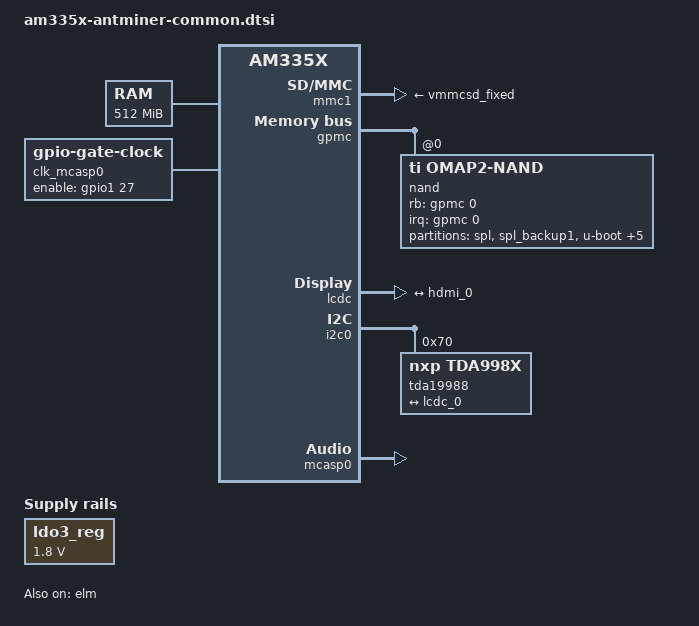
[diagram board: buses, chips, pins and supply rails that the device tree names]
/*
 * Copyright (C) 2012 Texas Instruments Incorporated - http://www.ti.com/
 *
 * This program is free software; you can redistribute it and/or modify
 * it under the terms of the GNU General Public License version 2 as
 * published by the Free Software Foundation.
 */

#include <dt-bindings/display/tda998x.h>
#include <dt-bindings/interrupt-controller/irq.h>

&ldo3_reg {
	regulator-min-microvolt = <1800000>;
	regulator-max-microvolt = <1800000>;
	regulator-always-on;
};

&mmc1 {
	vmmc-supply = <&vmmcsd_fixed>;
};


&am33xx_pinmux {
	nxp_hdmi_bonelt_pins: nxp_hdmi_bonelt_pins {
		pinctrl-single,pins = <
			AM33XX_IOPAD(0x9b0, PIN_OUTPUT_PULLDOWN | MUX_MODE3)	/* xdma_event_intr0 */
			AM33XX_IOPAD(0x8a0, PIN_OUTPUT | MUX_MODE0)		/* lcd_data0.lcd_data0 */
			AM33XX_IOPAD(0x8a4, PIN_OUTPUT | MUX_MODE0)		/* lcd_data1.lcd_data1 */
			AM33XX_IOPAD(0x8a8, PIN_OUTPUT | MUX_MODE0)		/* lcd_data2.lcd_data2 */
			AM33XX_IOPAD(0x8ac, PIN_OUTPUT | MUX_MODE0)		/* lcd_data3.lcd_data3 */
			AM33XX_IOPAD(0x8b0, PIN_OUTPUT | MUX_MODE0)		/* lcd_data4.lcd_data4 */
			AM33XX_IOPAD(0x8b4, PIN_OUTPUT | MUX_MODE0)		/* lcd_data5.lcd_data5 */
			AM33XX_IOPAD(0x8b8, PIN_OUTPUT | MUX_MODE0)		/* lcd_data6.lcd_data6 */
			AM33XX_IOPAD(0x8bc, PIN_OUTPUT | MUX_MODE0)		/* lcd_data7.lcd_data7 */
			AM33XX_IOPAD(0x8c0, PIN_OUTPUT | MUX_MODE0)		/* lcd_data8.lcd_data8 */
			AM33XX_IOPAD(0x8c4, PIN_OUTPUT | MUX_MODE0)		/* lcd_data9.lcd_data9 */
			AM33XX_IOPAD(0x8c8, PIN_OUTPUT | MUX_MODE0)		/* lcd_data10.lcd_data10 */
			AM33XX_IOPAD(0x8cc, PIN_OUTPUT | MUX_MODE0)		/* lcd_data11.lcd_data11 */
			AM33XX_IOPAD(0x8d0, PIN_OUTPUT | MUX_MODE0)		/* lcd_data12.lcd_data12 */
			AM33XX_IOPAD(0x8d4, PIN_OUTPUT | MUX_MODE0)		/* lcd_data13.lcd_data13 */
			AM33XX_IOPAD(0x8d8, PIN_OUTPUT | MUX_MODE0)		/* lcd_data14.lcd_data14 */
			AM33XX_IOPAD(0x8dc, PIN_OUTPUT | MUX_MODE0)		/* lcd_data15.lcd_data15 */
			AM33XX_IOPAD(0x8e0, PIN_OUTPUT_PULLDOWN | MUX_MODE0)	/* lcd_vsync.lcd_vsync */
			AM33XX_IOPAD(0x8e4, PIN_OUTPUT_PULLDOWN | MUX_MODE0)	/* lcd_hsync.lcd_hsync */
			AM33XX_IOPAD(0x8e8, PIN_OUTPUT_PULLDOWN | MUX_MODE0)	/* lcd_pclk.lcd_pclk */
			AM33XX_IOPAD(0x8ec, PIN_OUTPUT_PULLDOWN | MUX_MODE0)	/* lcd_ac_bias_en.lcd_ac_bias_en */
		>;
	};

	nxp_hdmi_bonelt_off_pins: nxp_hdmi_bonelt_off_pins {
		pinctrl-single,pins = <
			AM33XX_IOPAD(0x9b0, PIN_OUTPUT_PULLDOWN | MUX_MODE3)	/* xdma_event_intr0 */
		>;
	};

	mcasp0_pins: mcasp0_pins {
		pinctrl-single,pins = <
			AM33XX_IOPAD(0x9ac, PIN_INPUT_PULLUP | MUX_MODE0) /* mcasp0_ahcklx.mcasp0_ahclkx */
			AM33XX_IOPAD(0x99c, PIN_OUTPUT_PULLDOWN | MUX_MODE2) /* mcasp0_ahclkr.mcasp0_axr2*/
			AM33XX_IOPAD(0x994, PIN_OUTPUT_PULLUP | MUX_MODE0) /* mcasp0_fsx.mcasp0_fsx */
			AM33XX_IOPAD(0x990, PIN_OUTPUT_PULLDOWN | MUX_MODE0) /* mcasp0_aclkx.mcasp0_aclkx */
			AM33XX_IOPAD(0x86c, PIN_OUTPUT_PULLDOWN | MUX_MODE7) /* gpmc_a11.GPIO1_27 */
		>;
	};

	nandflash_pins_s0: nandflash_pins_s0 {
		pinctrl-single,pins = <
			AM33XX_IOPAD(0x800, PIN_INPUT_PULLUP | MUX_MODE0)	/* gpmc_ad0.gpmc_ad0 */
			AM33XX_IOPAD(0x804, PIN_INPUT_PULLUP | MUX_MODE0)	/* gpmc_ad1.gpmc_ad1 */
			AM33XX_IOPAD(0x808, PIN_INPUT_PULLUP | MUX_MODE0)	/* gpmc_ad2.gpmc_ad2 */
			AM33XX_IOPAD(0x80c, PIN_INPUT_PULLUP | MUX_MODE0)	/* gpmc_ad3.gpmc_ad3 */
			AM33XX_IOPAD(0x810, PIN_INPUT_PULLUP | MUX_MODE0)	/* gpmc_ad4.gpmc_ad4 */
			AM33XX_IOPAD(0x814, PIN_INPUT_PULLUP | MUX_MODE0)	/* gpmc_ad5.gpmc_ad5 */
			AM33XX_IOPAD(0x818, PIN_INPUT_PULLUP | MUX_MODE0)	/* gpmc_ad6.gpmc_ad6 */
			AM33XX_IOPAD(0x81c, PIN_INPUT_PULLUP | MUX_MODE0)	/* gpmc_ad7.gpmc_ad7 */
			AM33XX_IOPAD(0x870, PIN_INPUT_PULLUP | MUX_MODE0)	/* gpmc_wait0.gpmc_wait0 */
			AM33XX_IOPAD(0x874, PIN_INPUT_PULLUP | MUX_MODE7)	/* gpmc_wpn.gpio0_30 */
			AM33XX_IOPAD(0x87c, PIN_OUTPUT | MUX_MODE0)		/* gpmc_csn0.gpmc_csn0  */
			AM33XX_IOPAD(0x890, PIN_OUTPUT | MUX_MODE0)		/* gpmc_advn_ale.gpmc_advn_ale */
			AM33XX_IOPAD(0x894, PIN_OUTPUT | MUX_MODE0)		/* gpmc_oen_ren.gpmc_oen_ren */
			AM33XX_IOPAD(0x898, PIN_OUTPUT | MUX_MODE0)		/* gpmc_wen.gpmc_wen */
			AM33XX_IOPAD(0x89c, PIN_OUTPUT | MUX_MODE0)		/* gpmc_be0n_cle.gpmc_be0n_cle */
		>;
	};
};

&elm {
	status = "okay";
};

&gpmc {
	pinctrl-names = "default";
	pinctrl-0 = <&nandflash_pins_s0>;
	ranges = <0 0 0x08000000 0x10000000>;	/* CS0: NAND */
	status = "okay";

	nand@0,0 {
		compatible = "ti,omap2-nand";
		reg = <0 0 4>; /* CS0, offset 0, IO size 4 */
		interrupt-parent = <&gpmc>;
		interrupts = <0 IRQ_TYPE_NONE>, /* fifoevent */
			     <1 IRQ_TYPE_NONE>;	/* termcount */
		rb-gpios = <&gpmc 0 GPIO_ACTIVE_HIGH>; /* gpmc_wait0 */
		nand-bus-width = <8>;
		ti,nand-ecc-opt = "bch8";
		ti,nand-xfer-type = "polled";

		gpmc,device-nand = "true";
		gpmc,device-width = <1>;
		gpmc,sync-clk-ps = <0>;
		gpmc,cs-on-ns = <0>;
		gpmc,cs-rd-off-ns = <44>;
		gpmc,cs-wr-off-ns = <44>;
		gpmc,adv-on-ns = <6>;
		gpmc,adv-rd-off-ns = <34>;
		gpmc,adv-wr-off-ns = <44>;
		gpmc,we-on-ns = <0>;
		gpmc,we-off-ns = <40>;
		gpmc,oe-on-ns = <0>;
		gpmc,oe-off-ns = <54>;
		gpmc,access-ns = <64>;
		gpmc,rd-cycle-ns = <82>;
		gpmc,wr-cycle-ns = <82>;
		gpmc,bus-turnaround-ns = <0>;
		gpmc,cycle2cycle-delay-ns = <0>;
		gpmc,clk-activation-ns = <0>;
		gpmc,wr-access-ns = <40>;
		gpmc,wr-data-mux-bus-ns = <0>;

		#address-cells = <1>;
		#size-cells = <1>;
		ti,elm-id = <&elm>;

		partition@0 {
					label = "spl";
					reg = <0x00 0x20000>;
				};

				partition@1 {
					label = "spl_backup1";
					reg = <0x20000 0x20000>;
				};

				partition@2 {
					label = "u-boot";
					reg = <0x40000 0x100000>;
				};

				partition@3 {
					label = "u-boot-env";
					reg = <0x140000 0x20000>;
				};

				partition@4 {
					label = "u-boot-env.backup1";
					reg = <0x160000 0x20000>;
				};

				partition@5 {
					label = "dtb";
					reg = <0x180000 0x20000>;
				};

				partition@6 {
					label = "kernel";
					reg = <0x1a0000 0xc00000>;
				};
				partition@7 {
					label = "rootfs";
					reg = <0xda0000 0xf260000>;
				};
	};
};

&lcdc {
	status = "okay";

	/* If you want to get 24 bit RGB and 16 BGR mode instead of
	 * current 16 bit RGB and 24 BGR modes, set the propety
	 * below to "crossed" and uncomment the video-ports -property
	 * in tda19988 node.
	 */
	blue-and-red-wiring = "straight";

	port {
		lcdc_0: endpoint@0 {
			remote-endpoint = <&hdmi_0>;
		};
	};
};

&i2c0 {
	tda19988: tda19988 {
		compatible = "nxp,tda998x";
		reg = <0x70>;

		pinctrl-names = "default", "off";
		pinctrl-0 = <&nxp_hdmi_bonelt_pins>;
		pinctrl-1 = <&nxp_hdmi_bonelt_off_pins>;

		/* Convert 24bit BGR to RGB, e.g. cross red and blue wiring */
		/* video-ports = <0x234501>; */

		#sound-dai-cells = <0>;
		audio-ports = <	TDA998x_I2S	0x03>;

		ports {
			port@0 {
				hdmi_0: endpoint@0 {
					remote-endpoint = <&lcdc_0>;
				};
			};
		};
	};
};

&rtc {
	system-power-controller;
};

&mcasp0	{
	#sound-dai-cells = <0>;
	pinctrl-names = "default";
	pinctrl-0 = <&mcasp0_pins>;
	status = "okay";
	op-mode = <0>;	/* MCASP_IIS_MODE */
	tdm-slots = <2>;
	serial-dir = <	/* 0: INACTIVE, 1: TX, 2: RX */
			0 0 1 0
		>;
	tx-num-evt = <32>;
	rx-num-evt = <32>;
};

/ {
	memory@80000000 {
		device_type = "memory";
		reg = <0x80000000 0x20000000>; /* 512 MB */
	};

	clk_mcasp0_fixed: clk_mcasp0_fixed {
		#clock-cells = <0>;
		compatible = "fixed-clock";
		clock-frequency = <24576000>;
	};

	clk_mcasp0: clk_mcasp0 {
		#clock-cells = <0>;
		compatible = "gpio-gate-clock";
		clocks = <&clk_mcasp0_fixed>;
		enable-gpios = <&gpio1 27 0>; /* BeagleBone Black Clk enable on GPIO1_27 */
	};

	sound {
		compatible = "simple-audio-card";
		simple-audio-card,name = "TI BeagleBone Black";
		simple-audio-card,format = "i2s";
		simple-audio-card,bitclock-master = <&dailink0_master>;
		simple-audio-card,frame-master = <&dailink0_master>;

		dailink0_master: simple-audio-card,cpu {
			sound-dai = <&mcasp0>;
			clocks = <&clk_mcasp0>;
		};

		simple-audio-card,codec {
			sound-dai = <&tda19988>;
		};
	};
};
